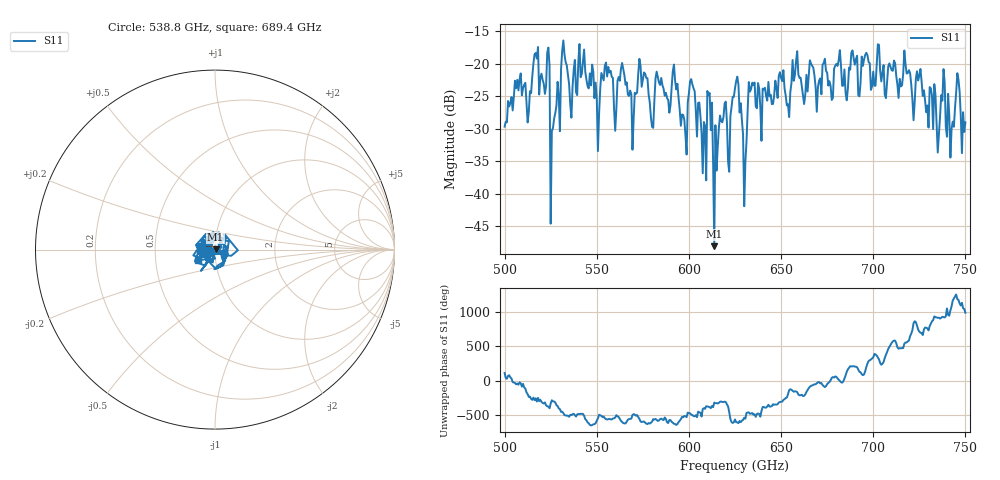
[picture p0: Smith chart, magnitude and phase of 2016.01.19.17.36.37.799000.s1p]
!Created with skrf (http://scikit-rf.org).
# GHz S RI R 50.0
!freq ReS11 ImS11
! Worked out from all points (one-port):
!   401 points, 500 GHz to 750 GHz, reference 50 ohm
!   lowest |S11| = -48.1 dB at 613.8 GHz (marker M1), VSWR 1.01, Z = 50.3 + j0.267 ohm
!   |S11| at or under -10 dB: start of sweep to end of sweep
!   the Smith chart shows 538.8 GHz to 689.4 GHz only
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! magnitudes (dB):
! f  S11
! 500 GHz  -29.7
! 507.5 GHz  -24.1
! 513.1 GHz  -27.4
! 516.9 GHz  -18.3
! 523.1 GHz  -18.3
! 526.2 GHz  -29.9
! 531.2 GHz  -18.0
! 535.6 GHz  -26.3
! 541.9 GHz  -21.6
! 550 GHz  -25.3
! 562.5 GHz  -22.6
! 568.8 GHz  -24.7
! 573.8 GHz  -20.3
! 580 GHz  -29.7
! 583.1 GHz  -22.0
! 593.8 GHz  -23.1
! 597.5 GHz  -28.6
! 601.9 GHz  -23.2
! 608.1 GHz  -29.0
! 611.2 GHz  -24.5
! 613.8 GHz  -48.1
! 625 GHz  -23.8
! 630 GHz  -41.9
! 633.8 GHz  -23.9
! 656.2 GHz  -19.4
! 687.5 GHz  -20.9
! 718.8 GHz  -21.4
! 750 GHz  -29.0
